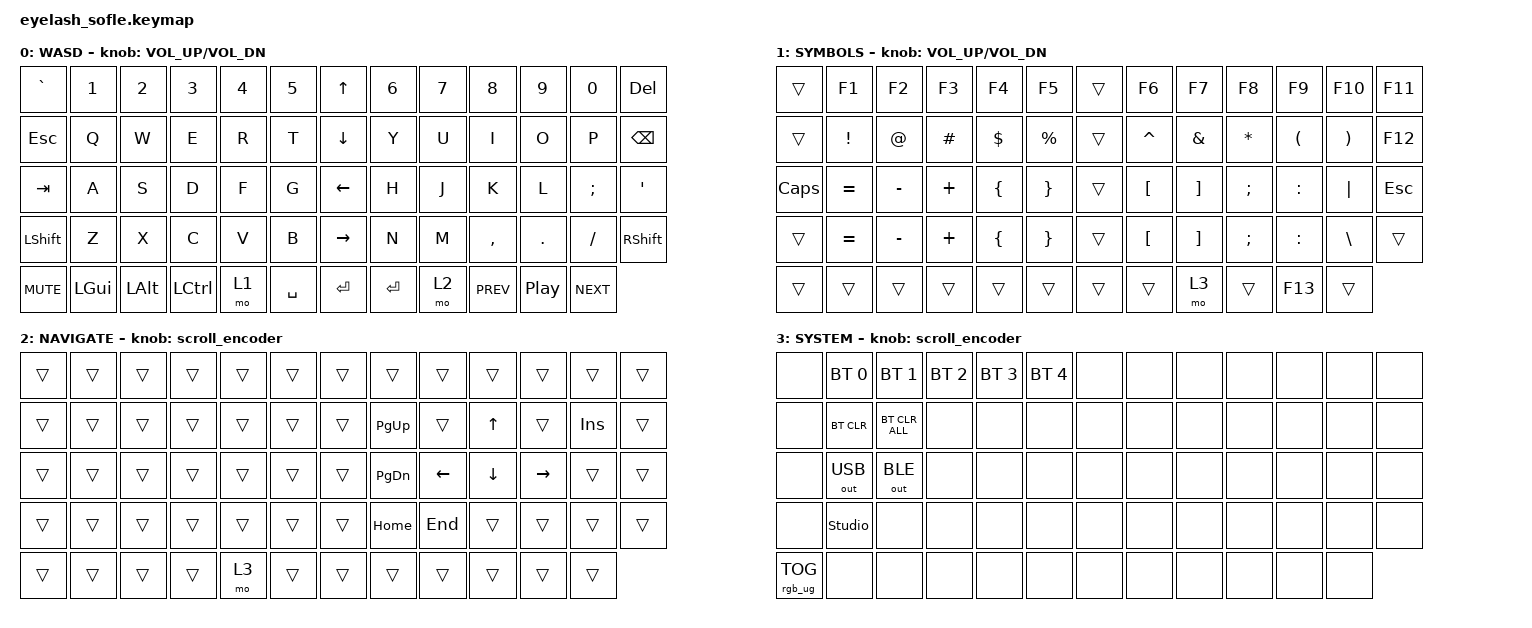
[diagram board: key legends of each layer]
#define ZMK_POINTING_DEFAULT_SCRL_VAL 25   // 10

#include <input/processors.dtsi>
#include <zephyr/dt-bindings/input/input-event-codes.h>
#include <behaviors.dtsi>
#include <dt-bindings/zmk/bt.h>
#include <dt-bindings/zmk/ext_power.h>
#include <dt-bindings/zmk/keys.h>
#include <dt-bindings/zmk/pointing.h>
#include <dt-bindings/zmk/rgb.h>
#include <dt-bindings/zmk/outputs.h>

&msc_input_listener { input-processors = <&zip_scroll_scaler 2 1>; };

&msc {
    acceleration-exponent = <1>;      // 0
    time-to-max-speed-ms = <100>;     // 300
    delay-ms = <0>;                   // 0
};

/ {
    scroll_encoder: scroll_encoder {
        compatible = "zmk,behavior-sensor-rotate";
        #sensor-binding-cells = <0>;    // Future self, this is not a commented line, the pound sign is part of the name
        bindings = <&msc SCRL_DOWN>, <&msc SCRL_UP>;
        tap-ms = <100>;
    };

    keymap {
        compatible = "zmk,keymap";

        layer0 {
            bindings = <
&kp GRAVE   &kp N1        &kp N2        &kp N3     &kp N4  &kp N5       &kp UP_ARROW     &kp N6     &kp N7  &kp N8     &kp N9           &kp N0      &kp DEL
&kp ESC     &kp Q         &kp W         &kp E      &kp R   &kp T        &kp DOWN_ARROW   &kp Y      &kp U   &kp I      &kp O            &kp P       &kp BACKSPACE
&kp TAB     &kp A         &kp S         &kp D      &kp F   &kp G        &kp LEFT_ARROW   &kp H      &kp J   &kp K      &kp L            &kp SEMI    &kp APOS
&kp LSHFT   &kp Z         &kp X         &kp C      &kp V   &kp B        &kp RIGHT_ARROW  &kp N      &kp M   &kp COMMA  &kp DOT          &kp FSLH    &kp RSHFT
&kp C_MUTE  &kp LEFT_GUI  &kp LEFT_ALT  &kp LCTRL  &mo 1   &kp SPACE    &kp ENTER        &kp ENTER  &mo 2   &kp C_PREV &kp C_PLAY_PAUSE &kp C_NEXT
            >;

            sensor-bindings = <&inc_dec_kp C_VOLUME_UP C_VOL_DN>;
            display-name = "WASD";
        };

        layer_1 {
            bindings = <
&trans    &kp F1     &kp F2     &kp F3    &kp F4      &kp F5       &trans  &kp F6     &kp F7    &kp F8     &kp F9     &kp F10   &kp F11
&trans    &kp EXCL   &kp AT     &kp HASH  &kp DOLLAR  &kp PERCENT  &trans  &kp CARET  &kp AMPS  &kp ASTRK  &kp LPAR   &kp RPAR  &kp F12
&kp CAPS  &kp EQUAL  &kp MINUS  &kp PLUS  &kp LBRC    &kp RBRC     &trans  &kp LBKT   &kp RBKT  &kp SEMI   &kp COLON  &kp PIPE  &kp ESC
&trans    &kp EQUAL  &kp MINUS  &kp PLUS  &kp LBRC    &kp RBRC     &trans  &kp LBKT   &kp RBKT  &kp SEMI   &kp COLON  &kp BSLH  &trans
&trans    &trans     &trans     &trans    &trans      &trans       &trans  &trans     &mo 3     &trans     &kp F13    &trans
            >;

            sensor-bindings = <&inc_dec_kp C_VOLUME_UP C_VOL_DN>;
            display-name = "SYMBOLS";
        };

        layer_2 {
            bindings = <
&trans  &trans  &trans  &trans  &trans  &trans  &trans  &trans       &trans    &trans      &trans     &trans     &trans
&trans  &trans  &trans  &trans  &trans  &trans  &trans  &kp PAGE_UP  &trans    &kp UP      &trans     &kp INS    &trans
&trans  &trans  &trans  &trans  &trans  &trans  &trans  &kp PG_DN    &kp LEFT  &kp DOWN    &kp RIGHT  &trans     &trans
&trans  &trans  &trans  &trans  &trans  &trans  &trans  &kp HOME     &kp END   &trans      &trans     &trans     &trans
&trans  &trans  &trans  &trans  &mo 3   &trans  &trans  &trans       &trans    &trans      &trans     &trans
            >;

            sensor-bindings = <&scroll_encoder>;
            display-name = "NAVIGATE";
        };

        layer_3 {
            bindings = <
&none            &bt BT_SEL 0    &bt BT_SEL 1    &bt BT_SEL 2  &bt BT_SEL 3  &bt BT_SEL 4  &none  &none  &none  &none  &none  &none  &none
&none            &bt BT_CLR      &bt BT_CLR_ALL  &none         &none         &none         &none  &none  &none  &none  &none  &none  &none
&none            &out OUT_USB    &out OUT_BLE    &none         &none         &none         &none  &none  &none  &none  &none  &none  &none
&none            &studio_unlock  &none           &none         &none         &none         &none  &none  &none  &none  &none  &none  &none
&rgb_ug RGB_TOG  &none           &none           &none         &none         &none         &none  &none  &none  &none  &none  &none
            >;

            sensor-bindings = <&scroll_encoder>;
            display-name = "SYSTEM";
        };
    };
};
